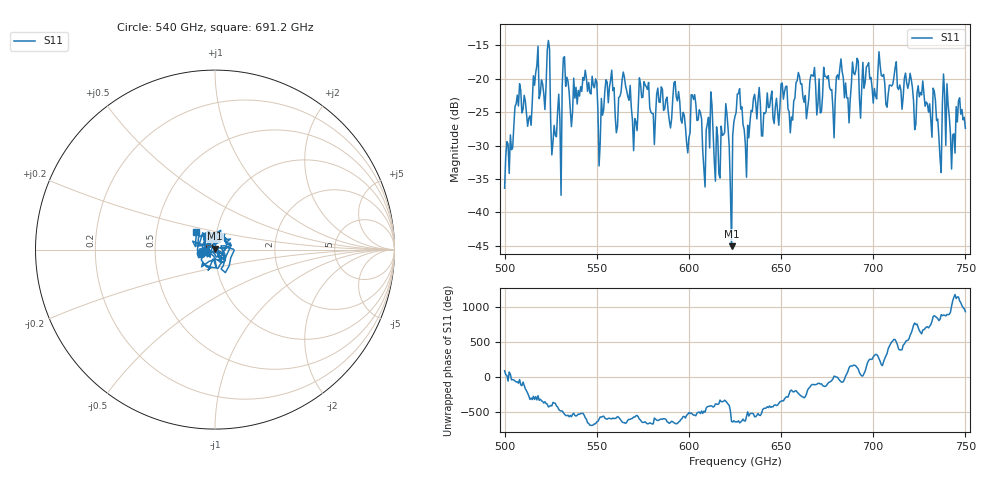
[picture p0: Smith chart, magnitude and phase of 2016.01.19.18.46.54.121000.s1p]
!Created with skrf (http://scikit-rf.org).
# GHz S RI R 50.0
!freq ReS11 ImS11
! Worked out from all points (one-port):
!   401 points, 500 GHz to 750 GHz, reference 50 ohm
!   lowest |S11| = -45.1 dB at 623.1 GHz (marker M1), VSWR 1.01, Z = 50 + j0.559 ohm
!   |S11| at or under -10 dB: start of sweep to end of sweep
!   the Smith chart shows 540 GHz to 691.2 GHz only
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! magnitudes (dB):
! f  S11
! 500 GHz  -36.4
! 506.9 GHz  -22.5
! 513.1 GHz  -25.9
! 516.9 GHz  -19.1
! 523.8 GHz  -14.3
! 526.9 GHz  -27.0
! 531.2 GHz  -21.0
! 533.1 GHz  -21.1
! 535.6 GHz  -24.6
! 548.8 GHz  -21.4
! 551.9 GHz  -29.5
! 562.5 GHz  -22.7
! 570.6 GHz  -26.0
! 574.4 GHz  -22.8
! 593.8 GHz  -23.3
! 608.8 GHz  -36.2
! 620 GHz  -23.7
! 623.1 GHz  -45.1
! 625 GHz  -25.6
! 656.2 GHz  -26.2
! 659.4 GHz  -19.1
! 687.5 GHz  -23.1
! 718.8 GHz  -21.4
! 733.8 GHz  -23.3
! 735.6 GHz  -28.8
! 738.8 GHz  -22.4
! 743.1 GHz  -28.4
! 750 GHz  -27.4
